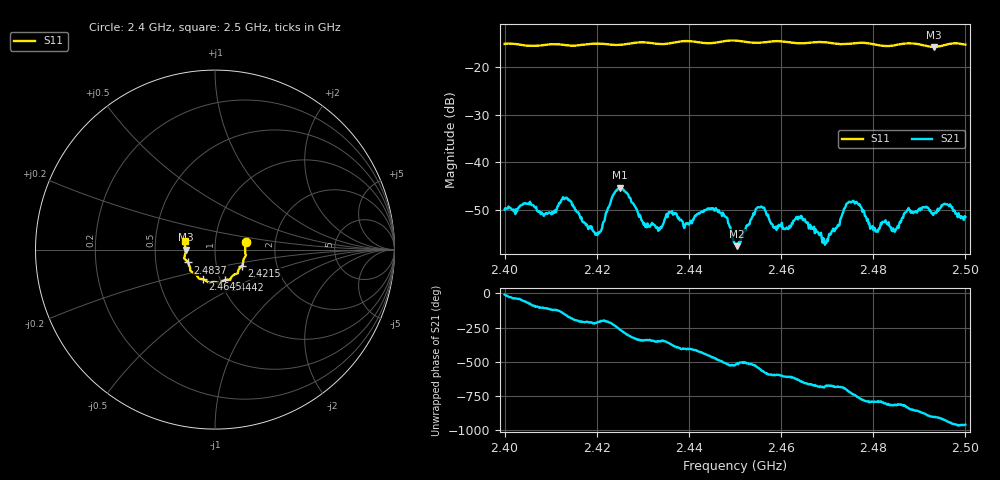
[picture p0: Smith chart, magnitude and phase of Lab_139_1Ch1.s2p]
# Hz S RI R 50
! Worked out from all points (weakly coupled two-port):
!   601 points, 2.4 GHz to 2.5 GHz, reference 50 ohm
!   highest |S21| = -45.38 dB at 2.425 GHz (marker M1); lowest = -57.7 dB at 2.4505 GHz (marker M2)
!   lowest |S11| = -15.7 dB at 2.4932 GHz (marker M3), VSWR 1.39, Z = 35.9 - j0.0555 ohm
!   |S11| at or under -10 dB: start of sweep to end of sweep
!   S12 and S22 are empty: the file has one direction only
!   S11 on the Smith chart (normalised r, x): 2.4 GHz: 1.41, +0.12; 2.4215 GHz: 1.33, -0.25; 2.4442 GHz: 1.05, -0.37; 2.4645 GHz: 0.83, -0.29; 2.4837 GHz: 0.73, -0.11; 2.5 GHz: 0.71, +0.07
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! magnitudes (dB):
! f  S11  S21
! 2.4 GHz  -15.1  -50.0
! 2.4132 GHz  -15.3  -47.5
! 2.4167 GHz  -15.3  -51.6
! 2.42 GHz  -15.0  -55.0
! 2.4215 GHz  -15.1  -52.5
! 2.425 GHz  -15.3  -45.4
! 2.4333 GHz  -15.1  -54.5
! 2.4442 GHz  -15.0  -49.7
! 2.4478 GHz  -14.5  -51.4
! 2.45 GHz  -14.4  -57.1
! 2.4505 GHz  -14.4  -57.7
! 2.4552 GHz  -14.9  -49.5
! 2.4588 GHz  -14.5  -53.6
! 2.4645 GHz  -15.0  -51.4
! 2.4667 GHz  -14.8  -53.9
! 2.4698 GHz  -14.8  -57.0
! 2.4753 GHz  -15.0  -48.4
! 2.4805 GHz  -15.3  -54.6
! 2.4833 GHz  -15.6  -52.6
! 2.4837 GHz  -15.5  -53.6
! 2.4932 GHz  -15.7  -50.8
! 2.5 GHz  -15.3  -51.5
